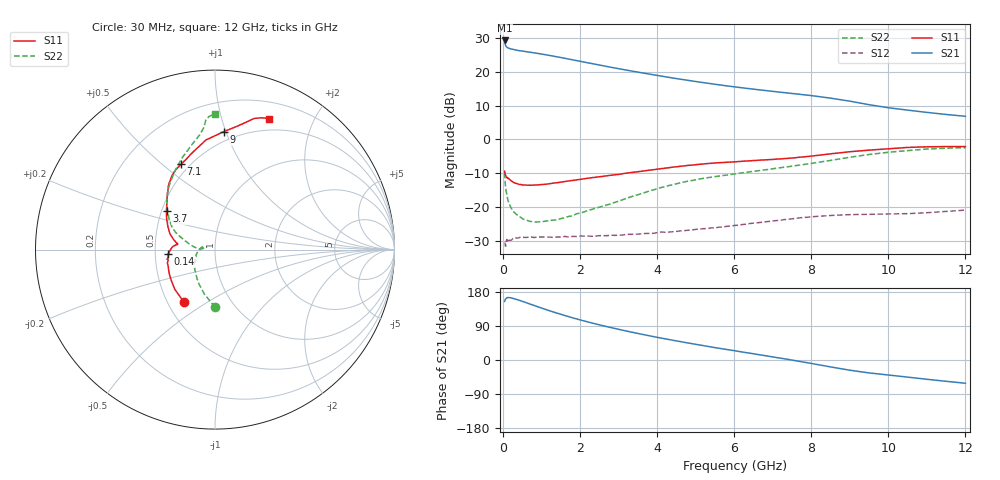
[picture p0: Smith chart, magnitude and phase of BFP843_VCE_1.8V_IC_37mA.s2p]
! Infineon Technologies  Discrete & RF Semiconductors
! BFP843
! VCE =  1.8 V,  IC =  37 mA
! Common Emitter S-Parameters:  Aug 2013
# GHz  S  MA  R  50
!  f  S11  S21  S12  S22
! GHz  MAG  ANG  MAG  ANG  MAG  ANG  MAG  ANG
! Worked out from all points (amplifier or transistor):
!   103 points, 30 MHz to 12 GHz, reference 50 ohm
!   highest |S21| = 29.4 dB at 30 MHz (marker M1)
!   |S21| within 3 dB of that: start of sweep to 394.8 MHz
!   unconditionally stable (mu >= 1): 57.58 MHz to 63.37 MHz; 93.65 MHz to 10.53 GHz
!   at 400 MHz: K = 1.03, MAG = 26.7 dB, |S12| = -29.1 dB
!   at 3.7 GHz: K = 1.34, MAG = 20.2 dB, |S12| = -27.9 dB
!   at 12 GHz: K = 0.85, MSG = 13.9 dB, |S12| = -20.9 dB
!   S11 on the Smith chart (normalised r, x): 30 MHz: 0.60, -0.40; 140 MHz: 0.58, -0.03; 3.7 GHz: 0.53, +0.26; 7.1 GHz: 0.45, +0.58; 9 GHz: 0.42, +0.98; 12 GHz: 0.38, +1.43
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0.03  0.3388 -121.1  29.38 154.6  0.0289 25.6  0.3215 -89.8
0.04  0.3143 -135.7  26.79 157.0  0.0291 21.8  0.2551 -103.4
0.05  0.2982 -144.7  25.45 160.3  0.0262 14.8  0.2118 -114.8
0.07  0.2821 -156.3  23.89 162.8  0.0308 17.3  0.1714 -128.4
0.1  0.2667 -167.5  23.1 164.5  0.0318 11.7  0.1389 -146.5
0.14  0.2628 -174.9  22.54 164.7  0.0319 10.9  0.1127 -159.9
0.2  0.2449 178.7  21.92 163.9  0.0319 8.3  0.0966 -173.3
0.8  0.211 171.6  19.24 143.8  0.0352 5.5  0.0598 166.6
1.1  0.217 169.9  18.02 133.3  0.0359 5.3  0.0617 169.8
1.6  0.2384 166.1  15.97 117.2  0.0366 6.1  0.0694 175.9
2.1  0.2617 161.3  14.02 102.9  0.0368 7.7  0.0847 177.0
2.8  0.295 153.0  11.74 85.4  0.0381 9.8  0.1116 173.8
3.2  0.3169 148.1  10.67 76.3  0.0393 9.7  0.1346 169.3
3.7  0.3452 141.5  9.511 65.8  0.0405 13.4  0.1657 164.5
4.1  0.3695 136.7  8.699 57.8  0.0425 14.3  0.1942 160.9
5  0.4229 128.3  7.23 41.3  0.0465 15.3  0.2531 154.5
6.1  0.4705 121.2  5.934 22.8  0.0536 16.1  0.3136 145.2
7.1  0.512 111.8  5.09 6.4  0.0628 12.3  0.3751 135.6
8.5  0.613 94.7  4.097 -18.3  0.0747 2.4  0.4899 117.4
9  0.6585 85.8  3.698 -27.0  0.0769 -1.4  0.5452 109.4
10.5  0.7623 73.4  2.724 -45.2  0.0795 -9.4  0.6837 95.2
12  0.7854 67.5  2.207 -61.4  0.0897 -16.4  0.7563 90.2
